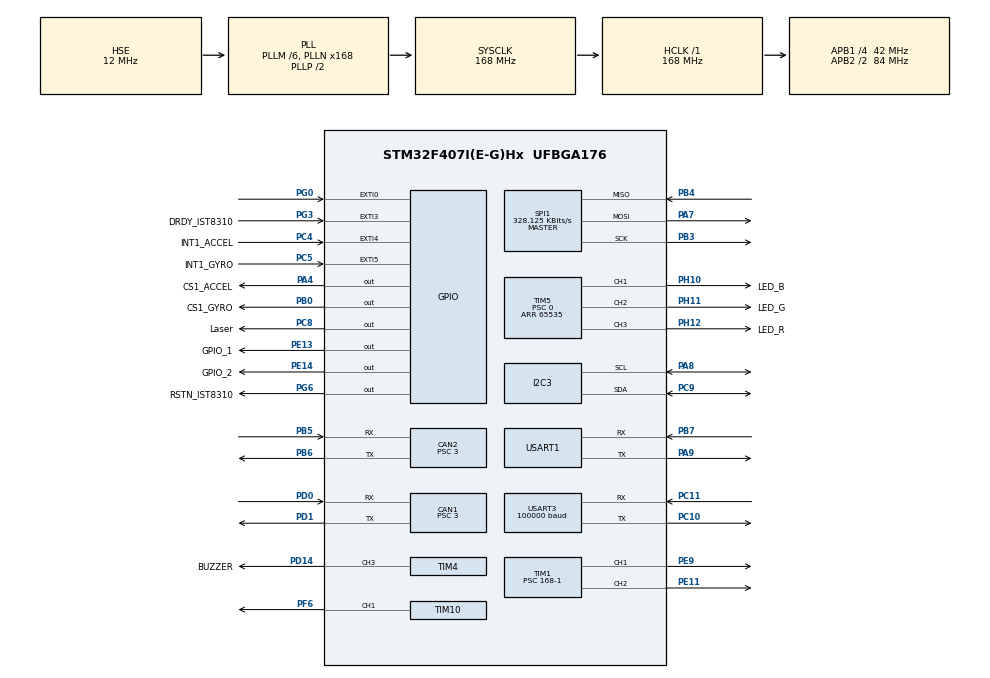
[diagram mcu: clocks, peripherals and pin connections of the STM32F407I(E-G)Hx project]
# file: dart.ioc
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CAN1.BS1=CAN_BS1_10TQ
CAN1.BS2=CAN_BS2_3TQ
CAN1.CalculateTimeQuantum=71.42857142857143
CAN1.Prescaler=3
CAN2.BS1=CAN_BS1_10TQ
CAN2.BS2=CAN_BS2_3TQ
CAN2.CalculateTimeQuantum=71.42857142857143
CAN2.Prescaler=3
Dma.Request0=SPI1_RX
Dma.Request1=SPI1_TX
Dma.Request2=USART3_RX
Dma.Request3=USART1_TX
Dma.SPI1_RX.0.Direction=DMA_PERIPH_TO_MEMORY
Dma.SPI1_RX.0.FIFOMode=DMA_FIFOMODE_DISABLE
Dma.SPI1_RX.0.Instance=DMA2_Stream2
Dma.SPI1_RX.0.MemDataAlignment=DMA_MDATAALIGN_BYTE
Dma.SPI1_RX.0.MemInc=DMA_MINC_ENABLE
Dma.SPI1_RX.0.Mode=DMA_NORMAL
Dma.SPI1_RX.0.PeriphDataAlignment=DMA_PDATAALIGN_BYTE
Dma.SPI1_RX.0.PeriphInc=DMA_PINC_DISABLE
Dma.SPI1_RX.0.Priority=DMA_PRIORITY_VERY_HIGH
Dma.SPI1_TX.1.Direction=DMA_MEMORY_TO_PERIPH
Dma.SPI1_TX.1.FIFOMode=DMA_FIFOMODE_DISABLE
Dma.SPI1_TX.1.Instance=DMA2_Stream3
Dma.SPI1_TX.1.MemDataAlignment=DMA_MDATAALIGN_BYTE
Dma.SPI1_TX.1.MemInc=DMA_MINC_ENABLE
Dma.SPI1_TX.1.Mode=DMA_NORMAL
Dma.SPI1_TX.1.PeriphDataAlignment=DMA_PDATAALIGN_BYTE
Dma.SPI1_TX.1.PeriphInc=DMA_PINC_DISABLE
Dma.SPI1_TX.1.Priority=DMA_PRIORITY_HIGH
Dma.USART1_TX.3.Direction=DMA_MEMORY_TO_PERIPH
Dma.USART1_TX.3.FIFOMode=DMA_FIFOMODE_DISABLE
Dma.USART1_TX.3.Instance=DMA2_Stream7
Dma.USART1_TX.3.MemDataAlignment=DMA_MDATAALIGN_BYTE
Dma.USART1_TX.3.MemInc=DMA_MINC_ENABLE
Dma.USART1_TX.3.Mode=DMA_NORMAL
Dma.USART1_TX.3.PeriphDataAlignment=DMA_PDATAALIGN_BYTE
Dma.USART1_TX.3.PeriphInc=DMA_PINC_DISABLE
Dma.USART1_TX.3.Priority=DMA_PRIORITY_MEDIUM
Dma.USART3_RX.2.Direction=DMA_PERIPH_TO_MEMORY
Dma.USART3_RX.2.FIFOMode=DMA_FIFOMODE_DISABLE
Dma.USART3_RX.2.Instance=DMA1_Stream1
Dma.USART3_RX.2.MemDataAlignment=DMA_MDATAALIGN_BYTE
Dma.USART3_RX.2.MemInc=DMA_MINC_ENABLE
Dma.USART3_RX.2.Mode=DMA_NORMAL
Dma.USART3_RX.2.PeriphDataAlignment=DMA_PDATAALIGN_BYTE
Dma.USART3_RX.2.PeriphInc=DMA_PINC_DISABLE
Dma.USART3_RX.2.Priority=DMA_PRIORITY_HIGH
FREERTOS.INCLUDE_eTaskGetState=1
FREERTOS.INCLUDE_pcTaskGetTaskName=1
FREERTOS.INCLUDE_uxTaskGetStackHighWaterMark=1
FREERTOS.INCLUDE_vTaskCleanUpResources=1
FREERTOS.INCLUDE_vTaskDelayUntil=1
FREERTOS.INCLUDE_xEventGroupSetBitFromISR=1
FREERTOS.INCLUDE_xQueueGetMutexHolder=1
FREERTOS.INCLUDE_xSemaphoreGetMutexHolder=1
FREERTOS.INCLUDE_xTaskAbortDelay=1
FREERTOS.INCLUDE_xTaskGetCurrentTaskHandle=1
FREERTOS.INCLUDE_xTaskGetHandle=1
FREERTOS.INCLUDE_xTimerPendFunctionCall=1
FREERTOS.Tasks01=test,-1,128,test_task,As weak,NULL,Dynamic,NULL,NULL;LaserTask,0,128,laser_task,As weak,NULL,Dynamic,NULL,NULL;FricTask,0,128,fric_task,As weak,NULL,Dynamic,NULL,NULL;LedFlowTask,0,128,led_RGB_flow_task,As weak,NULL,Dynamic,NULL,NULL;GimbalTask,0,128,gimbal_task,As weak,NULL,Dynamic,NULL,NULL;GimbalLockedTas,0,128,gimbal_locked_task,As weak,NULL,Dynamic,NULL,NULL;TranslateTask,0,128,translate_task,As weak,NULL,Dynamic,NULL,NULL;AdvanceTask,-3,128,advance_task,As weak,NULL,Dynamic,NULL,NULL;ModeSetTask,0,128,mode_set_task,As weak,NULL,Dynamic,NULL,NULL;buzzer_task,-1,128,Buzzer_Task,As weak,NULL,Dynamic,NULL,NULL
FREERTOS.configTOTAL_HEAP_SIZE=24576
I2C3.I2C_Mode=I2C_Fast
Mcu.Family=STM32F4
Mcu.Name=STM32F407I(E-G)Hx
Mcu.Package=UFBGA176
NVIC.CAN1_RX0_IRQn=true\:5\:0\:false\:false\:true\:true\:true\:true\:true
NVIC.CAN2_RX0_IRQn=true\:5\:0\:false\:false\:true\:true\:true\:true\:true
NVIC.DMA1_Stream1_IRQn=true\:5\:0\:false\:false\:true\:true\:false\:true\:true
NVIC.DMA2_Stream2_IRQn=true\:5\:0\:true\:false\:false\:true\:false\:true\:true
NVIC.DMA2_Stream3_IRQn=true\:5\:0\:true\:false\:false\:true\:false\:true\:true
NVIC.DMA2_Stream7_IRQn=true\:5\:0\:false\:false\:true\:true\:false\:true\:true
NVIC.EXTI0_IRQn=true\:6\:0\:true\:false\:true\:true\:true\:true\:true
NVIC.EXTI3_IRQn=true\:5\:0\:true\:false\:true\:true\:true\:true\:true
NVIC.EXTI4_IRQn=true\:5\:0\:true\:false\:true\:true\:true\:true\:true
NVIC.EXTI9_5_IRQn=true\:5\:0\:true\:false\:true\:true\:true\:true\:true
NVIC.PriorityGroup=NVIC_PRIORITYGROUP_4
NVIC.USART3_IRQn=true\:4\:0\:true\:false\:false\:false\:true\:true\:true
PA13.Mode=Serial_Wire
PA13.Signal=SYS_JTMS-SWDIO
PA14.Mode=Serial_Wire
PA14.Signal=SYS_JTCK-SWCLK
PA4.GPIO_Label=CS1_ACCEL
PA4.GPIO_PuPd=GPIO_PULLUP
PA4.GPIO_Speed=GPIO_SPEED_FREQ_HIGH
PA4.PinState=GPIO_PIN_SET
PA4.Signal=GPIO_Output
PA7.GPIO_PuPd=GPIO_PULLUP
PA7.Mode=Full_Duplex_Master
PA7.Signal=SPI1_MOSI
PA8.Mode=I2C
PA8.Signal=I2C3_SCL
PA9.Mode=Asynchronous
PA9.Signal=USART1_TX
PB0.GPIO_Label=CS1_GYRO
PB0.GPIO_PuPd=GPIO_PULLUP
PB0.GPIO_Speed=GPIO_SPEED_FREQ_HIGH
PB0.PinState=GPIO_PIN_SET
PB0.Signal=GPIO_Output
PB3.GPIO_PuPd=GPIO_PULLUP
PB3.Mode=Full_Duplex_Master
PB3.Signal=SPI1_SCK
PB4.GPIO_PuPd=GPIO_PULLUP
PB4.Mode=Full_Duplex_Master
PB4.Signal=SPI1_MISO
PB5.Mode=Slave
PB5.Signal=CAN2_RX
PB6.Mode=Slave
PB6.Signal=CAN2_TX
PB7.Mode=Asynchronous
PB7.Signal=USART1_RX
PC10.Mode=Asynchronous
PC10.Signal=USART3_TX
PC11.Mode=Asynchronous
PC11.Signal=USART3_RX
PC4.GPIO_Label=INT1_ACCEL
PC4.GPIO_ModeDefaultEXTI=GPIO_MODE_IT_FALLING
PC4.GPIO_PuPd=GPIO_PULLUP
PC4.Signal=GPXTI4
PC5.GPIO_Label=INT1_GYRO
PC5.GPIO_ModeDefaultEXTI=GPIO_MODE_IT_FALLING
PC5.GPIO_PuPd=GPIO_PULLUP
PC5.Signal=GPXTI5
PC8.GPIO_Label=Laser
PC8.PinState=GPIO_PIN_SET
PC8.Signal=GPIO_Output
PC9.Mode=I2C
PC9.Signal=I2C3_SDA
PD0.Mode=Master
PD0.Signal=CAN1_RX
PD1.Mode=Master
PD1.Signal=CAN1_TX
PD14.GPIO_Label=BUZZER
PD14.GPIO_PuPd=GPIO_PULLUP
PD14.GPIO_Speed=GPIO_SPEED_FREQ_VERY_HIGH
PD14.Signal=S_TIM4_CH3
PE11.Signal=S_TIM1_CH2
PE13.GPIO_Label=GPIO_1
PE13.GPIO_PuPd=GPIO_PULLUP
PE13.GPIO_Speed=GPIO_SPEED_FREQ_HIGH
PE13.PinState=GPIO_PIN_SET
PE13.Signal=GPIO_Output
PE14.GPIO_Label=GPIO_2
PE14.GPIO_ModeDefaultOutputPP=GPIO_MODE_OUTPUT_PP
PE14.GPIO_PuPd=GPIO_PULLUP
PE14.GPIO_Speed=GPIO_SPEED_FREQ_HIGH
PE14.PinState=GPIO_PIN_SET
PE14.Signal=GPIO_Output
PE9.Signal=S_TIM1_CH1
PF6.GPIO_PuPd=GPIO_PULLUP
PF6.GPIO_Speed=GPIO_SPEED_FREQ_HIGH
PF6.Signal=S_TIM10_CH1
PG0.GPIO_ModeDefaultEXTI=GPIO_MODE_IT_FALLING
PG0.GPIO_PuPd=GPIO_PULLUP
PG0.Signal=GPXTI0
PG3.GPIO_Label=DRDY_IST8310
PG3.GPIO_ModeDefaultEXTI=GPIO_MODE_IT_FALLING
PG3.GPIO_PuPd=GPIO_PULLUP
PG3.Signal=GPXTI3
PG6.GPIO_Label=RSTN_IST8310
PG6.GPIO_PuPd=GPIO_PULLUP
PG6.GPIO_Speed=GPIO_SPEED_FREQ_MEDIUM
PG6.PinState=GPIO_PIN_SET
PG6.Signal=GPIO_Output
PH0-OSC_IN.Mode=HSE-External-Oscillator
PH0-OSC_IN.Signal=RCC_OSC_IN
PH1-OSC_OUT.Mode=HSE-External-Oscillator
PH1-OSC_OUT.Signal=RCC_OSC_OUT
PH10.GPIO_Label=LED_B
PH10.GPIO_PuPd=GPIO_PULLUP
PH10.GPIO_Speed=GPIO_SPEED_FREQ_HIGH
PH10.Signal=S_TIM5_CH1
PH11.GPIO_Label=LED_G
PH11.GPIO_PuPd=GPIO_PULLUP
PH11.GPIO_Speed=GPIO_SPEED_FREQ_HIGH
PH11.Signal=S_TIM5_CH2
PH12.GPIO_Label=LED_R
PH12.GPIO_PuPd=GPIO_PULLUP
PH12.GPIO_Speed=GPIO_SPEED_FREQ_HIGH
PH12.Signal=S_TIM5_CH3
ProjectManager.HeapSize=0x2000
ProjectManager.StackSize=0x2000
ProjectManager.TargetToolchain=MDK-ARM V5
RCC.48MHZClocksFreq_Value=48000000
RCC.AHBFreq_Value=168000000
RCC.APB1CLKDivider=RCC_HCLK_DIV4
RCC.APB1Freq_Value=42000000
RCC.APB1TimFreq_Value=84000000
RCC.APB2CLKDivider=RCC_HCLK_DIV2
RCC.APB2Freq_Value=84000000
RCC.APB2TimFreq_Value=168000000
RCC.CortexFreq_Value=168000000
RCC.HCLKFreq_Value=168000000
RCC.HSE_VALUE=12000000
RCC.HSI_VALUE=16000000
RCC.LSE_VALUE=32768
RCC.PLLM=6
RCC.PLLN=168
RCC.PLLQ=7
RCC.PLLSourceVirtual=RCC_PLLSOURCE_HSE
RCC.RCC_RTC_Clock_SourceVirtual=RCC_RTCCLKSOURCE_HSE_DIV30
RCC.RCC_RTC_Clock_Source_FROM_HSE=RCC_RTCCLKSOURCE_HSE_DIV30
RCC.SYSCLKFreq_VALUE=168000000
RCC.SYSCLKSource=RCC_SYSCLKSOURCE_PLLCLK
RCC.VCOOutputFreq_Value=336000000
SH.S_TIM10_CH1.0=TIM10_CH1,PWM Generation1 CH1
SH.S_TIM1_CH1.0=TIM1_CH1,PWM Generation1 CH1
SH.S_TIM1_CH2.0=TIM1_CH2,PWM Generation2 CH2
SH.S_TIM4_CH3.0=TIM4_CH3,PWM Generation3 CH3
SH.S_TIM5_CH1.0=TIM5_CH1,PWM Generation1 CH1
SH.S_TIM5_CH2.0=TIM5_CH2,PWM Generation2 CH2
SH.S_TIM5_CH3.0=TIM5_CH3,PWM Generation3 CH3
SPI1.BaudRatePrescaler=SPI_BAUDRATEPRESCALER_256
SPI1.CLKPhase=SPI_PHASE_2EDGE
SPI1.CLKPolarity=SPI_POLARITY_HIGH
SPI1.CalculateBaudRate=328.125 KBits/s
SPI1.Direction=SPI_DIRECTION_2LINES
SPI1.Mode=SPI_MODE_MASTER
SPI1.VirtualType=VM_MASTER
TIM1.Channel-PWM\ Generation1\ CH1=TIM_CHANNEL_1
TIM1.Channel-PWM\ Generation2\ CH2=TIM_CHANNEL_2
TIM1.Period=20000-1
TIM1.Prescaler=168-1
TIM1.Pulse-PWM\ Generation1\ CH1=1500
TIM1.Pulse-PWM\ Generation2\ CH2=1500
TIM10.Channel=TIM_CHANNEL_1
TIM10.Period=4999
TIM4.Channel-PWM\ Generation3\ CH3=TIM_CHANNEL_3
TIM4.Period=65535
TIM4.Prescaler=167
TIM5.Channel-PWM\ Generation1\ CH1=TIM_CHANNEL_1
TIM5.Channel-PWM\ Generation2\ CH2=TIM_CHANNEL_2
TIM5.Channel-PWM\ Generation3\ CH3=TIM_CHANNEL_3
TIM5.Period=65535
TIM5.Prescaler=0
USART1.VirtualMode=VM_ASYNC
USART3.BaudRate=100000
USART3.VirtualMode=VM_ASYNC
VP_FREERTOS_VS_CMSIS_V1.Mode=CMSIS_V1
VP_RNG_VS_RNG.Mode=RNG_Activate
VP_TIM10_VS_ClockSourceINT.Mode=Enable_Timer
VP_TIM5_VS_ClockSourceINT.Mode=Internal
board=custom

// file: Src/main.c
/* USER CODE BEGIN Header */
/**
  ******************************************************************************
  * @file           : main.c
  * @brief          : Main program body
  ******************************************************************************
  * @attention
  *
  * <h2><center>&copy; Copyright (c) 2019 STMicroelectronics.
  * All rights reserved.</center></h2>
  *
  * This software component is licensed by ST under Ultimate Liberty license
  * SLA0044, the "License"; You may not use this file except in compliance with
  * the License. You may obtain a copy of the License at:
  *                             www.st.com/SLA0044
  *
  ******************************************************************************
  */
/* USER CODE END Header */

#include "main.h"
#include "cmsis_os.h"
#include "can.h"
#include "dma.h"
#include "i2c.h"
#include "rng.h"
#include "spi.h"
#include "tim.h"
#include "usart.h"
#include "gpio.h"

/* USER CODE BEGIN Includes */
#include "bsp_delay.h"
#include "remote_control.h"
#include "bsp_can.h"
#include "bsp_usart.h"
#include "bsp_buzzer.h"
#include "CAN_bus.h"
/* USER CODE END Includes */

void SystemClock_Config(void);
void MX_FREERTOS_Init(void);
/* USER CODE BEGIN PFP */
void user_delay_us(uint16_t us);
void user_delay_ms(uint16_t ms);

/* USER CODE END PFP */

int main(void)
{

  /* MCU Configuration--------------------------------------------------------*/

  /* Reset of all peripherals, Initializes the Flash interface and the Systick. */
  HAL_Init();

  /* Configure the system clock */
  SystemClock_Config();

  /* Initialize all configured peripherals */
  MX_GPIO_Init();
  MX_DMA_Init();
  MX_SPI1_Init();
  MX_TIM5_Init();
  MX_I2C3_Init();
  MX_TIM10_Init();
  MX_TIM1_Init();
  MX_CAN1_Init();
  MX_CAN2_Init();
  MX_RNG_Init();
  MX_USART3_UART_Init();
  MX_USART1_UART_Init();
  MX_TIM4_Init();
  /* USER CODE BEGIN 2 */
		HAL_TIM_Base_Start(&htim4);
		HAL_TIM_PWM_Start(&htim4,TIM_CHANNEL_3);
    delay_init();
		remote_control_init();
		can_filter_init();

//		usart1_tx_dma_init();
/*
    buzzer_on(1, 30000);
    user_delay_ms(300);
    buzzer_off();
*/
  /* USER CODE END 2 */

  /* Call init function for freertos objects (in freertos.c) */
  MX_FREERTOS_Init();

  /* Start scheduler */
  osKernelStart();

  /* We should never get here as control is now taken by the scheduler */

  /* Infinite loop */
  while (1)
  {

  }
}

void SystemClock_Config(void)
{
  RCC_OscInitTypeDef RCC_OscInitStruct = {0};
  RCC_ClkInitTypeDef RCC_ClkInitStruct = {0};

  /** Configure the main internal regulator output voltage
  */
  __HAL_RCC_PWR_CLK_ENABLE();
  __HAL_PWR_VOLTAGESCALING_CONFIG(PWR_REGULATOR_VOLTAGE_SCALE1);
  /** Initializes the CPU, AHB and APB busses clocks
  */
  RCC_OscInitStruct.OscillatorType = RCC_OSCILLATORTYPE_HSE;
  RCC_OscInitStruct.HSEState = RCC_HSE_ON;
  RCC_OscInitStruct.PLL.PLLState = RCC_PLL_ON;
  RCC_OscInitStruct.PLL.PLLSource = RCC_PLLSOURCE_HSE;
  RCC_OscInitStruct.PLL.PLLM = 6;
  RCC_OscInitStruct.PLL.PLLN = 168;
  RCC_OscInitStruct.PLL.PLLP = RCC_PLLP_DIV2;
  RCC_OscInitStruct.PLL.PLLQ = 7;
  if (HAL_RCC_OscConfig(&RCC_OscInitStruct) != HAL_OK)
  {
    Error_Handler();
  }
  /** Initializes the CPU, AHB and APB busses clocks
  */
  RCC_ClkInitStruct.ClockType = RCC_CLOCKTYPE_HCLK|RCC_CLOCKTYPE_SYSCLK
                              |RCC_CLOCKTYPE_PCLK1|RCC_CLOCKTYPE_PCLK2;
  RCC_ClkInitStruct.SYSCLKSource = RCC_SYSCLKSOURCE_PLLCLK;
  RCC_ClkInitStruct.AHBCLKDivider = RCC_SYSCLK_DIV1;
  RCC_ClkInitStruct.APB1CLKDivider = RCC_HCLK_DIV4;
  RCC_ClkInitStruct.APB2CLKDivider = RCC_HCLK_DIV2;

  if (HAL_RCC_ClockConfig(&RCC_ClkInitStruct, FLASH_LATENCY_5) != HAL_OK)
  {
    Error_Handler();
  }
}

/* USER CODE BEGIN 4 */
void user_delay_us(uint16_t us)
{
    for (; us > 0; us--)
    {
        for (uint8_t i = 50; i > 0; i--)
        {
            ;
        }
    }
}
void user_delay_ms(uint16_t ms)
{
    for (; ms > 0; ms--)
    {
        user_delay_us(1000);
    }
}
/* USER CODE END 4 */

void Error_Handler(void)
{
}

/************************ (C) COPYRIGHT STMicroelectronics *****END OF FILE****/

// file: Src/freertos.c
/* USER CODE BEGIN Header */
/**
  ******************************************************************************
  * File Name          : freertos.c
  * Description        : Code for freertos applications
  ******************************************************************************
  * @attention
  *
  * <h2><center>&copy; Copyright (c) 2019 STMicroelectronics.
  * All rights reserved.</center></h2>
  *
  * This software component is licensed by ST under Ultimate Liberty license
  * SLA0044, the "License"; You may not use this file except in compliance with
  * the License. You may obtain a copy of the License at:
  *                             www.st.com/SLA0044
  *
  ******************************************************************************
  */
/* USER CODE END Header */

#include "FreeRTOS.h"
#include "task.h"
#include "main.h"
#include "cmsis_os.h"

/* USER CODE BEGIN Includes */

#include "led_flow_task.h"
/* USER CODE END Includes */

/* USER CODE BEGIN PTD */

osThreadId imuTaskHandle;
osThreadId led_RGB_flow_handle;
/* USER CODE END PTD */

osThreadId testHandle;
osThreadId LaserTaskHandle;
osThreadId FricTaskHandle;
osThreadId LedFlowTaskHandle;
osThreadId GimbalTaskHandle;
osThreadId GimbalLockedTasHandle;
osThreadId TranslateTaskHandle;
osThreadId AdvanceTaskHandle;
osThreadId ModeSetTaskHandle;
osThreadId buzzer_taskHandle;

void test_task(void const * argument);
void laser_task(void const * argument);
void fric_task(void const * argument);
void led_RGB_flow_task(void const * argument);
void gimbal_task(void const * argument);
void gimbal_locked_task(void const * argument);
void translate_task(void const * argument);
void advance_task(void const * argument);
void mode_set_task(void const * argument);
void Buzzer_Task(void const * argument);

void MX_FREERTOS_Init(void); /* (MISRA C 2004 rule 8.1) */

/* GetIdleTaskMemory prototype (linked to static allocation support) */
void vApplicationGetIdleTaskMemory( StaticTask_t **ppxIdleTaskTCBBuffer, StackType_t **ppxIdleTaskStackBuffer, uint32_t *pulIdleTaskStackSize );

/* GetTimerTaskMemory prototype (linked to static allocation support) */
void vApplicationGetTimerTaskMemory( StaticTask_t **ppxTimerTaskTCBBuffer, StackType_t **ppxTimerTaskStackBuffer, uint32_t *pulTimerTaskStackSize );

/* USER CODE BEGIN GET_IDLE_TASK_MEMORY */
static StaticTask_t xIdleTaskTCBBuffer;
static StackType_t xIdleStack[configMINIMAL_STACK_SIZE];

void vApplicationGetIdleTaskMemory( StaticTask_t **ppxIdleTaskTCBBuffer, StackType_t **ppxIdleTaskStackBuffer, uint32_t *pulIdleTaskStackSize )
{
  *ppxIdleTaskTCBBuffer = &xIdleTaskTCBBuffer;
  *ppxIdleTaskStackBuffer = &xIdleStack[0];
  *pulIdleTaskStackSize = configMINIMAL_STACK_SIZE;
  /* place for user code */
}
/* USER CODE END GET_IDLE_TASK_MEMORY */

/* USER CODE BEGIN GET_TIMER_TASK_MEMORY */
static StaticTask_t xTimerTaskTCBBuffer;
static StackType_t xTimerStack[configTIMER_TASK_STACK_DEPTH];

void vApplicationGetTimerTaskMemory( StaticTask_t **ppxTimerTaskTCBBuffer, StackType_t **ppxTimerTaskStackBuffer, uint32_t *pulTimerTaskStackSize )
{
  *ppxTimerTaskTCBBuffer = &xTimerTaskTCBBuffer;
  *ppxTimerTaskStackBuffer = &xTimerStack[0];
  *pulTimerTaskStackSize = configTIMER_TASK_STACK_DEPTH;
  /* place for user code */
}
/* USER CODE END GET_TIMER_TASK_MEMORY */

void MX_FREERTOS_Init(void) {

  /* Create the thread(s) */
  /* definition and creation of test */
  osThreadDef(test, test_task, osPriorityBelowNormal, 0, 128);
  testHandle = osThreadCreate(osThread(test), NULL);

  /* definition and creation of LaserTask */
  osThreadDef(LaserTask, laser_task, osPriorityNormal, 0, 128);
  LaserTaskHandle = osThreadCreate(osThread(LaserTask), NULL);

  /* definition and creation of FricTask */
  osThreadDef(FricTask, fric_task, osPriorityNormal, 0, 128);
  FricTaskHandle = osThreadCreate(osThread(FricTask), NULL);

  /* definition and creation of LedFlowTask */
  osThreadDef(LedFlowTask, led_RGB_flow_task, osPriorityNormal, 0, 128);
  LedFlowTaskHandle = osThreadCreate(osThread(LedFlowTask), NULL);

  /* definition and creation of GimbalTask */
  osThreadDef(GimbalTask, gimbal_task, osPriorityNormal, 0, 128);
  GimbalTaskHandle = osThreadCreate(osThread(GimbalTask), NULL);

  /* definition and creation of GimbalLockedTas */
  osThreadDef(GimbalLockedTas, gimbal_locked_task, osPriorityNormal, 0, 128);
  GimbalLockedTasHandle = osThreadCreate(osThread(GimbalLockedTas), NULL);

  /* definition and creation of TranslateTask */
  osThreadDef(TranslateTask, translate_task, osPriorityNormal, 0, 128);
  TranslateTaskHandle = osThreadCreate(osThread(TranslateTask), NULL);

  /* definition and creation of AdvanceTask */
  osThreadDef(AdvanceTask, advance_task, osPriorityIdle, 0, 128);
  AdvanceTaskHandle = osThreadCreate(osThread(AdvanceTask), NULL);

  /* definition and creation of ModeSetTask */
  osThreadDef(ModeSetTask, mode_set_task, osPriorityNormal, 0, 128);
  ModeSetTaskHandle = osThreadCreate(osThread(ModeSetTask), NULL);

  /* definition and creation of buzzer_task */
  osThreadDef(buzzer_task, Buzzer_Task, osPriorityBelowNormal, 0, 128);
  buzzer_taskHandle = osThreadCreate(osThread(buzzer_task), NULL);

}

__weak void test_task(void const * argument)
{

  for(;;)
  {
    osDelay(1);
  }
}

__weak void laser_task(void const * argument)
{
  for(;;)
  {
    osDelay(1);
  }
}

__weak void fric_task(void const * argument)
{
  for(;;)
  {
    osDelay(1);
  }
}

__weak void led_RGB_flow_task(void const * argument)
{
  for(;;)
  {
    osDelay(1);
  }
}

__weak void gimbal_task(void const * argument)
{
  for(;;)
  {
    osDelay(1);
  }
}

__weak void gimbal_locked_task(void const * argument)
{
  for(;;)
  {
    osDelay(1);
  }
}

__weak void translate_task(void const * argument)
{
  for(;;)
  {
    osDelay(1);
  }
}

__weak void advance_task(void const * argument)
{
  for(;;)
  {
    osDelay(1);
  }
}

__weak void mode_set_task(void const * argument)
{
  for(;;)
  {
    osDelay(1);
  }
}

__weak void Buzzer_Task(void const * argument)
{
  for(;;)
  {
    osDelay(1);
  }
}

/************************ (C) COPYRIGHT STMicroelectronics *****END OF FILE****/
